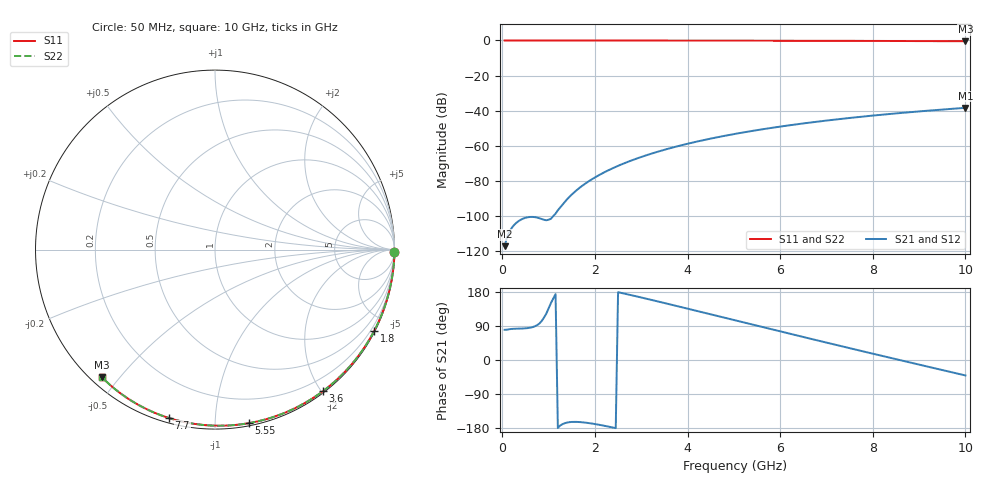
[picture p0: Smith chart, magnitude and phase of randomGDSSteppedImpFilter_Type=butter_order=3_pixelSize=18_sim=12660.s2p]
! freq	dB(S11)	phase(S11)	dB(S12)	phase(S12)
!  dB(S21)	phase(S21)	dB(S22)	phase(S22)
!S-par simulation data
#  GHz  S  DB  R 50
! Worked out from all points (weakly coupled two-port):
!   200 points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, 50 MHz to 10 GHz, reference 50 ohm
!   highest |S21| = -38.36 dB at 10 GHz (marker M1); lowest = -117.1 dB at 50 MHz (marker M2)
!   lowest |S11| = -0.4 dB at 10 GHz (marker M3), VSWR 38.97, Z = 1.54 - j22.4 ohm
!   |S11| at or under -10 dB: nowhere
!   |S22| runs from -0.4 to 0.0 dB; largest |S21 - S12| = 0
!   S11 on the Smith chart (normalised r, x): 50 MHz: open; 1.8 GHz: 0.04, -4.17; 3.6 GHz: 0.02, -2.02; 5.55 GHz: 0.02, -1.22; 7.7 GHz: 0.02, -0.76; 10 GHz: 0.03, -0.45
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0.05  -0.00 -0.8  -117.10 79.7  -117.10 79.7  -0.00 -0.8
0.9  -0.02 -13.6  -102.08 111.9  -102.08 111.9  -0.02 -13.6
1.75  -0.03 -26.3  -82.27 -164.6  -82.27 -164.6  -0.03 -26.3
1.8  -0.03 -27.0  -81.33 -165.3  -81.33 -165.3  -0.03 -27.0
1.85  -0.04 -27.7  -80.44 -166.1  -80.44 -166.1  -0.04 -27.7
1.9  -0.04 -28.5  -79.59 -167.0  -79.59 -167.0  -0.04 -28.5
2.05  -0.04 -30.7  -77.22 -170.0  -77.22 -170.0  -0.04 -30.7
2.25  -0.04 -33.6  -74.42 -174.7  -74.42 -174.7  -0.04 -33.6
2.45  -0.05 -36.5  -71.95 -179.8  -71.95 -179.8  -0.05 -36.5
2.65  -0.05 -39.4  -69.73 174.8  -69.73 174.8  -0.05 -39.4
3  -0.06 -44.4  -66.32 165.0  -66.32 165.0  -0.06 -44.4
3.4  -0.07 -50.0  -62.99 153.4  -62.99 153.4  -0.07 -50.0
3.6  -0.07 -52.8  -61.50 147.5  -61.50 147.5  -0.07 -52.8
4.3  -0.09 -62.4  -56.99 126.5  -56.99 126.5  -0.09 -62.4
5.05  -0.11 -72.4  -53.07 104.0  -53.07 104.0  -0.11 -72.4
5.55  -0.13 -78.8  -50.84 89.0  -50.84 89.0  -0.13 -78.8
6.1  -0.15 -85.8  -48.66 72.6  -48.66 72.6  -0.15 -85.8
6.7  -0.18 -93.2  -46.56 54.8  -46.56 54.8  -0.18 -93.2
7.7  -0.24 -105.3  -43.56 25.4  -43.56 25.4  -0.24 -105.3
8.35  -0.29 -112.9  -41.89 6.5  -41.89 6.5  -0.29 -112.9
9.15  -0.36 -122.1  -40.06 -16.5  -40.06 -16.5  -0.36 -122.1
10  -0.45 -131.7  -38.36 -40.7  -38.36 -40.7  -0.45 -131.7
